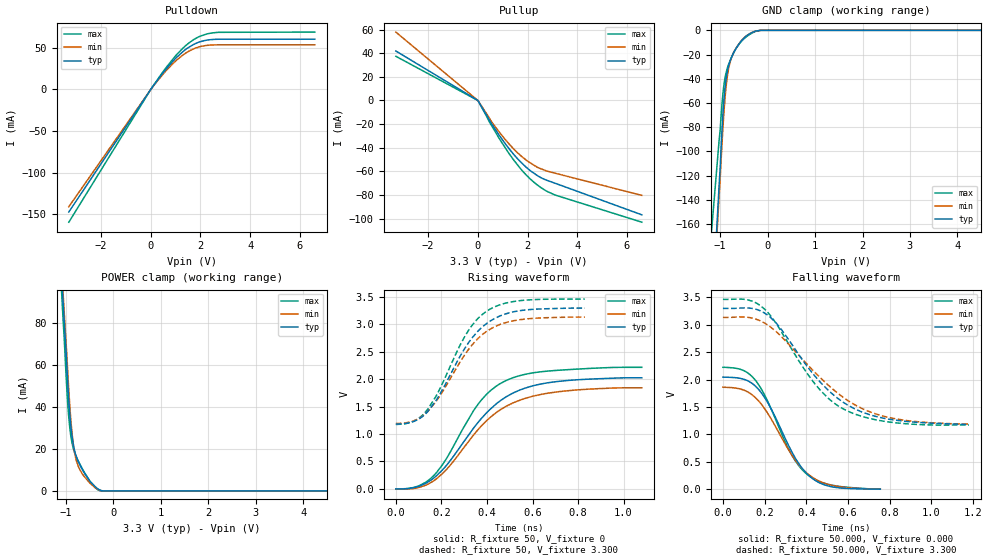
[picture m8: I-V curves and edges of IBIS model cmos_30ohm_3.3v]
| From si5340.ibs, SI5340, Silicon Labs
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[Model]   cmos_30ohm_3.3v
Model_type 3-state
Vref=0.000E+00
Rref=1.000E+06
Cref=5.000E-12
Vmeas=1.650E+00
C_comp   1.210E-12   1.190E-12   1.240E-12
[Voltage Range]   3.300E+00   3.135E+00   3.465E+00
[POWER Clamp Reference]   3.300E+00   3.135E+00   3.465E+00
[GND Clamp Reference]   0.000E+00   0.000E+00   0.000E+00
[Pullup Reference]   3.300E+00   3.135E+00   3.465E+00
[Pulldown Reference]   0.000E+00   0.000E+00   0.000E+00
[Temperature Range]   25   85   -40
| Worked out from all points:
|   slope of the pulldown table from 0 to 0.495 V, typ, clamps not added: 24.9 ohm
|   slope of the pullup table from 0 to 0.495 V, typ, clamps not added: 27.9 ohm
|   GND clamp passes 1 mA (typ) near -0.28 V on its own axis
|   POWER clamp passes 1 mA (typ) near -0.33 V on its own axis
|   rising waveform, R_fixture 50, V_fixture 0: 20-80 % time 246ps typ, 246ps min, 206ps max; typ from -0.006 V to 2.03 V
|   falling waveform, R_fixture 50.000, V_fixture 0.000: 20-80 % time 169ps typ, 184ps min, 169ps max; typ from 2.04 V to 0 V
|   rising waveform, R_fixture 50, V_fixture 3.300: 20-80 % time 184ps typ, 187ps min, 171ps max; typ from 1.18 V to 3.3 V
|   falling waveform, R_fixture 50.000, V_fixture 3.300: 20-80 % time 283ps typ, 325ps min, 256ps max; typ from 3.3 V to 1.18 V
[GND Clamp]
-3.3V     -1.762A    -1.716A    -1.162A
-1.02V    -127.1mA   -136mA     -90.36mA
-1V       -114.7mA   -123.1mA   -82.7mA
-960mV    -82.07mA   -93.43mA   -60.37mA
-920mV    -57.49mA   -67.81mA   -45.17mA
-900mV    -48.65mA   -57.37mA   -40.02mA
-860mV    -36.51mA   -41.59mA   -32.89mA
-800mV    -26.64mA   -27.84mA   -25.93mA
-700mV    -17.41mA   -17.14mA   -17.36mA
-560mV    -9.107mA   -8.921mA   -9.418mA
-260mV    -698.8uA   -722.7uA   -934.2uA
6.6V      0A         0A         0A
[Power Clamp]
-3.3V     952.7mA    941.2mA    1.006A
-1.06V    89.34mA    93.49mA    80.96mA
-980mV    58.28mA    63.75mA    47.25mA
-940mV    42.53mA    47.47mA    34.54mA
-920mV    36.26mA    40.34mA    29.97mA
-880mV    27.19mA    28.97mA    23.6mA
-820mV    19.25mA    18.34mA    18.35mA
-740mV    13.87mA    11.63mA    14.18mA
-640mV    9.517mA    7.569mA    9.913mA
-480mV    4.238mA    3.382mA    4.07mA
-320mV    849.9uA    659uA      438uA
6.6V      0A         0A         0A
[Pullup]
-3.3V     41.87mA    57.91mA    37.4mA
0V        0A         0A         0A
620mV     -21.92mA   -20.03mA   -23.71mA
1.1V      -36.56mA   -33.06mA   -40.01mA
1.54V     -48.03mA   -43.21mA   -53.04mA
1.8V      -53.67mA   -48.05mA   -59.84mA
2.02V     -57.95mA   -51.66mA   -64.63mA
2.28V     -61.97mA   -55.12mA   -69.72mA
2.54V     -65.43mA   -57.89mA   -73.83mA
2.8V      -67.83mA   -59.92mA   -77.19mA
3.12V     -70.21mA   -61.69mA   -80.18mA
6.6V      -96.88mA   -80.41mA   -103.1mA
[Pulldown]
-3.3V     -147.4mA   -141.1mA   -159.7mA
80mV      3.362mA    3.139mA    3.585mA
580mV     23.14mA    21.32mA    24.78mA
880mV     33.53mA    30.71mA    36.12mA
1.28V     45.07mA    41.1mA     49.13mA
1.5V      50.07mA    45.41mA    55.02mA
1.96V     57.04mA    51.22mA    63.64mA
2.24V     59.19mA    52.84mA    66.52mA
2.58V     60.19mA    53.53mA    68.29mA
6.6V      60.35mA    53.67mA    68.92mA
[Rising Waveform]
R_fixture = 50
V_fixture = 0
V_fixture_min = 0
V_fixture_max = 0
0s        -5.831mV   -6.903mV   -4.396mV
95ps      33.56mV    13.34mV    41.29mV
165ps     188.8mV    139.7mV    232.2mV
230ps     464.5mV    385.3mV    603.8mV
360ps     1.205V     1.074V     1.537V
415ps     1.454V     1.304V     1.789V
480ps     1.666V     1.494V     1.967V
565ps     1.833V     1.645V     2.087V
670ps     1.936V     1.746V     2.149V
1.08ns    2.026V     1.843V     2.217V
[Falling Waveform]
R_fixture = 50.000
V_fixture = 0.000
V_fixture_min = 0.000
V_fixture_max = 0.000
|  time   V(typ)   V(min)   V(max)
0s        2.044V     1.861V     2.225V
105ps     2V         1.801V     2.155V
170ps     1.826V     1.616V     1.915V
225ps     1.512V     1.323V     1.521V
330ps     684.7mV    626.9mV    625.1mV
370ps     433.3mV    418.1mV    399.5mV
410ps     256.5mV    269.1mV    252.1mV
460ps     122.4mV    150.3mV    143.3mV
525ps     41.87mV    67.63mV    71.69mV
755ps     0V         0V         0V
[Rising Waveform]
R_fixture = 50
V_fixture = 3.300
V_fixture_min = 3.135
V_fixture_max = 3.465
0s        1.18V      1.189V     1.172V
80ps      1.23V      1.241V     1.236V
140ps     1.409V     1.41V      1.45V
190ps     1.701V     1.675V     1.797V
310ps     2.611V     2.492V     2.832V
355ps     2.854V     2.72V      3.087V
400ps     3.022V     2.878V     3.246V
460ps     3.161V     3.005V     3.364V
540ps     3.25V      3.085V     3.433V
830ps     3.3V       3.135V     3.465V
[Falling Waveform]
R_fixture = 50.000
V_fixture = 3.300
V_fixture_min = 3.135
V_fixture_max = 3.465
|  time   V(typ)   V(min)   V(max)
0s        3.3V       3.135V     3.465V
125ps     3.306V     3.135V     3.45V
215ps     3.176V     2.996V     3.229V
275ps     2.944V     2.807V     2.909V
440ps     2.071V     2.137V     1.93V
510ps     1.789V     1.883V     1.644V
580ps     1.579V     1.668V     1.46V
680ps     1.39V      1.451V     1.315V
805ps     1.272V     1.302V     1.222V
1.18ns    1.18V      1.189V     1.173V
[Ramp]
dV/dt_r   1.2191E+00/2.4590E-10   1.1101E+00/2.4596E-10   1.3329E+00/2.0532E-10
dV/dt_f   1.2718E+00/2.8180E-10   1.1675E+00/3.2471E-10   1.3755E+00/2.5530E-10
R_load = 50
